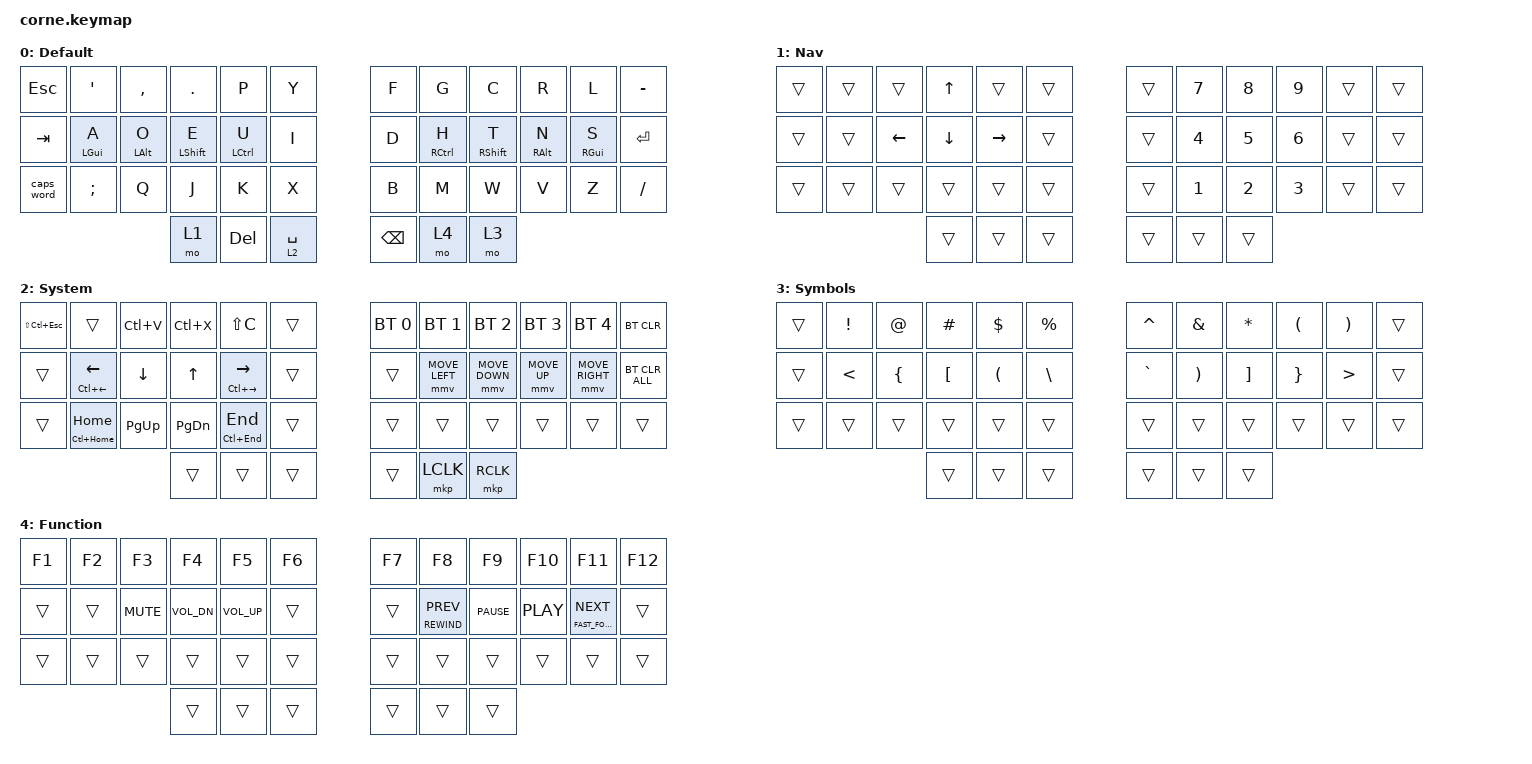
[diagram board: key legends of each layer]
#include <behaviors.dtsi>
#include <dt-bindings/zmk/bt.h>
#include <dt-bindings/zmk/keys.h>
#include <dt-bindings/zmk/pointing.h>

// ------------------------------------------------------------------------------------------------------------
//	|	0		|	1		|	2		|	3		|	4		|	5		|		|	6		|	7		|	8		|	9		|	10	|	11	|	
//	|	12	|	13	|	14	|	15	|	16	|	17	|		|	18	|	19	|	20	|	21	|	22	|	23	|	
//	|	24	|	25	|	26	|	27	|	28	|	29	|		|	30	|	31	|	32	|	33	|	34	|	35	|	
//										|	36	|	37	|	38	|		| 39	|	40	|	41  |

/ {
    behaviors {
        hml: homewrow_mods_left {
            compatible = "zmk,behavior-hold-tap";
            label = "HOMEROW_MODS_LEFT_HAND";
            bindings = <&kp>, <&kp>;

            #binding-cells = <2>;
            tapping-term-ms = <300>;
            hold-trigger-key-positions = <6 7 8 9 10 11 18 19 20 21 22 23 30 31 32 33 34 35>;
            flavor = "balanced";
            quick-tap-ms = <175>;
            hold-trigger-on-release;
            require-prior-idle-ms = <150>;
        };

        hmr: homewrow_mods_right {
            compatible = "zmk,behavior-hold-tap";
            label = "HOMEREOW_MODS_RIGHT";
            bindings = <&kp>, <&kp>;

            #binding-cells = <2>;
            tapping-term-ms = <300>;
            hold-trigger-key-positions = <0 1 2 3 4 5 12 13 14 15 16 17 24 25 26 27 28 29>;
            quick-tap-ms = <175>;
            hold-trigger-on-release;
            flavor = "balanced";
            require-prior-idle-ms = <150>;
        };

        layr: layr {
            compatible = "zmk,behavior-hold-tap";
            label = "LAYR";
            bindings = <&mo>, <&kp>;

            #binding-cells = <2>;
            tapping-term-ms = <200>;
            hold-trigger-key-positions = <0 1 2 3 4 5 6 7 8 9 10 11 12 13 14 15 16 17 18 19 20 21 22 23 24 25 26 27 28 29 30 31 32 33 34 35>;
        };
    };

    keymap {
        compatible = "zmk,keymap";

        Default {
            display-name = "Default";

            // ------------------------------------------------------------------------------------------------------------
            //   |  ESC  |   '   |   .   |   .   |   P   |   Y   |			|   F   |   G   |   C   |   R   |   L   |   -  |
            //   |  TAB  |   A   |   O   |   E   |   U   |   I   |			|   D   |   H   |   T   |   N   |   S   |  ENT |
            //   |  ESC  |   ;   |   Q   |   J   |   K   |   X   |			|   B   |   M   |   W   |   V   |   Z   |   ?  |
            //													 |  MO1  |  DEL  | SPACE |			| SHIFT |  BAK  |  MO3  |

            bindings = <
&kp ESC     &kp SQT      &kp COMMA    &kp PERIOD    &kp P         &kp Y            &kp F          &kp G         &kp C         &kp R        &kp L        &kp MINUS
&kp TAB     &hml LGUI A  &hml LALT O  &hml LSHFT E  &hml LCTRL U  &kp I            &kp D          &hmr RCTRL H  &hmr RSHFT T  &hmr RALT N  &hmr RGUI S  &kp ENTER
&caps_word  &kp SEMI     &kp Q        &kp J         &kp K         &kp X            &kp B          &kp M         &kp W         &kp V        &kp Z        &kp SLASH
                                      &mo 1         &kp DEL       &layr 2 SPACE    &kp BACKSPACE  &mo 4         &mo 3
            >;
        };

        nav {
            display-name = "Nav";
            bindings = <
&trans  &trans  &trans    &kp UP    &trans     &trans    &trans  &kp N7  &kp N8  &kp N9  &trans  &trans
&trans  &trans  &kp LEFT  &kp DOWN  &kp RIGHT  &trans    &trans  &kp N4  &kp N5  &kp N6  &trans  &trans
&trans  &trans  &trans    &trans    &trans     &trans    &trans  &kp N1  &kp N2  &kp N3  &trans  &trans
                          &trans    &trans     &trans    &trans  &trans  &trans
            >;
        };

        System {
            display-name = "System";
            bindings = <
&kp LS(LC(ESC))  &trans             &kp LC(V)    &kp LC(X)      &kp LS(C)            &trans    &bt BT_SEL 0  &bt BT_SEL 1    &bt BT_SEL 2    &bt BT_SEL 3  &bt BT_SEL 4     &bt BT_CLR
&trans           &mt LC(LEFT) LEFT  &kp DOWN     &kp UP_ARROW   &mt LC(RIGHT) RIGHT  &trans    &trans        &mmv MOVE_LEFT  &mmv MOVE_DOWN  &mmv MOVE_UP  &mmv MOVE_RIGHT  &bt BT_CLR_ALL
&trans           &mt LC(HOME) HOME  &kp PAGE_UP  &kp PAGE_DOWN  &mt LC(END) END      &trans    &trans        &trans          &trans          &trans        &trans           &trans
                                                 &trans         &trans               &trans    &trans        &mkp LCLK       &mkp RCLK
            >;
        };

        Symbols {
            display-name = "Symbols";
            bindings = <
&trans  &kp EXCL  &kp AT    &kp HASH  &kp DLLR  &kp PRCNT    &kp CARET  &kp AMPS  &kp ASTRK  &kp LPAR  &kp RPAR  &trans
&trans  &kp LT    &kp LBRC  &kp LBKT  &kp LPAR  &kp BSLH     &kp GRAVE  &kp RPAR  &kp RBKT   &kp RBRC  &kp GT    &trans
&trans  &trans    &trans    &trans    &trans    &trans       &trans     &trans    &trans     &trans    &trans    &trans
                            &trans    &trans    &trans       &trans     &trans    &trans
            >;
        };

        Function {
            bindings = <
&kp F1  &kp F2  &kp F3      &kp F4        &kp F5        &kp F6    &kp F7  &kp F8               &kp F9       &kp F10     &kp F11                    &kp F12
&trans  &trans  &kp C_MUTE  &kp C_VOL_DN  &kp C_VOL_UP  &trans    &trans  &mt C_REWIND C_PREV  &kp C_PAUSE  &kp C_PLAY  &mt C_FAST_FORWARD C_NEXT  &trans
&trans  &trans  &trans      &trans        &trans        &trans    &trans  &trans               &trans       &trans      &trans                     &trans
                            &trans        &trans        &trans    &trans  &trans               &trans
            >;

            label = "Function";
        };
    };
};
